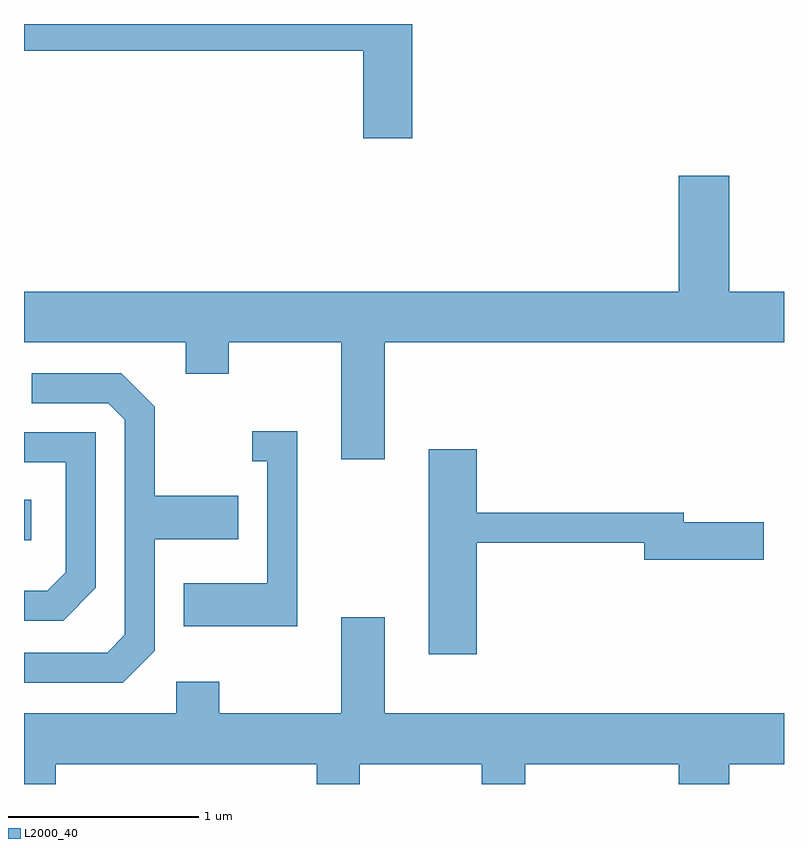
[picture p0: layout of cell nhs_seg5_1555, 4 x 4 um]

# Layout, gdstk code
import gdstk
lib = gdstk.Library(unit=1e-6, precision=1e-09)
def R(c, l, rs):  # rectangles x0, y0, x1, y1
    for r in rs: c.add(gdstk.rectangle(r[:2], r[2:], *l))
def P(c, l, *ps):  # polygons
    for p in ps: c.add(gdstk.Polygon(p, *l))
L2000_40 = (2000, 40)

nhs_seg5_1555 = lib.new_cell('nhs_seg5_1555')
R(nhs_seg5_1555, L2000_40, [(231.611,1411.356,231.649,1411.569)])
P(nhs_seg5_1555, L2000_40, [(233.654,1414.072),(231.611,1414.072),(231.611,1413.931),(233.396,1413.931),(233.396,1413.471),(233.654,1413.471)],
  [(235.611,1412.664),(235.324,1412.664),(235.324,1413.274),(235.056,1413.274),(235.056,1412.664),(231.611,1412.664),(231.611,1412.396),(232.461,1412.396),(232.461,1412.231),(232.689,1412.231),(232.689,1412.396),(233.281,1412.396),(233.281,1411.781),(233.509,1411.781),(233.509,1412.396),(235.611,1412.396)],
  [(232.299,1410.774),(232.299,1411.361),(232.739,1411.361),(232.739,1411.589),(232.299,1411.589),(232.299,1412.057),(232.122,1412.234),(231.653,1412.234),(231.653,1412.076),(232.054,1412.076),(232.141,1411.989),(232.141,1410.857),(232.049,1410.764),(231.611,1410.764),(231.611,1410.606),(232.132,1410.606)],
  [(233.049,1411.929),(232.813,1411.929),(232.813,1411.771),(232.891,1411.771),(232.891,1411.129),(232.451,1411.129),(232.451,1410.901),(233.049,1410.901)],
  [(231.989,1411.104),(231.989,1411.924),(231.611,1411.924),(231.611,1411.766),(231.831,1411.766),(231.831,1411.187),(231.734,1411.089),(231.611,1411.089),(231.611,1410.931),(231.817,1410.931)],
  [(233.994,1411.341),(234.876,1411.341),(234.876,1411.251),(235.504,1411.251),(235.504,1411.449),(235.084,1411.449),(235.084,1411.499),(233.994,1411.499),(233.994,1411.834),(233.741,1411.834),(233.741,1410.756),(233.994,1410.756)],
  [(231.779,1410.176),(233.151,1410.176),(233.151,1410.072),(233.379,1410.072),(233.379,1410.176),(234.021,1410.176),(234.021,1410.072),(234.249,1410.072),(234.249,1410.176),(235.056,1410.176),(235.056,1410.072),(235.324,1410.072),(235.324,1410.176),(235.611,1410.176),(235.611,1410.444),(233.509,1410.444),(233.509,1410.949),(233.281,1410.949),(233.281,1410.444),(232.639,1410.444),(232.639,1410.609),(232.411,1410.609),(232.411,1410.444),(231.611,1410.444),(231.611,1410.072),(231.779,1410.072)])

lib.write_gds('nhs_seg5_1555.gds')
